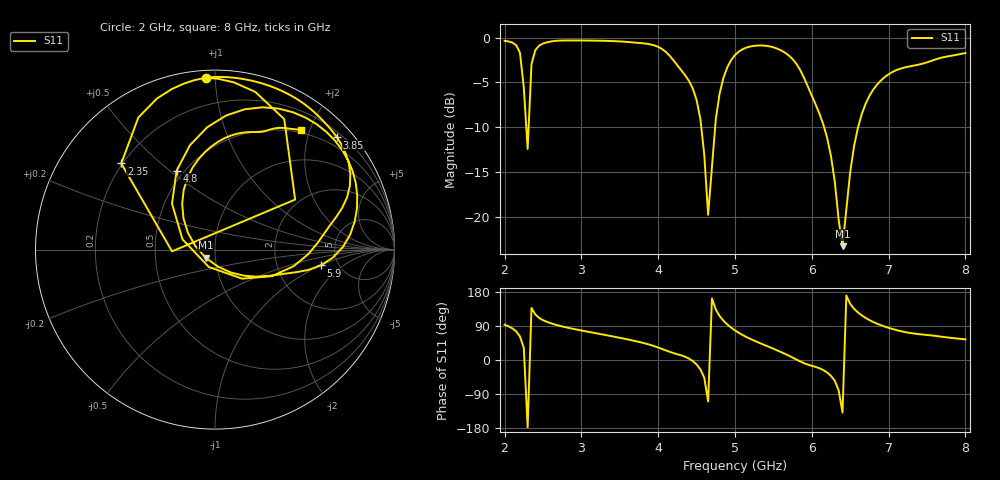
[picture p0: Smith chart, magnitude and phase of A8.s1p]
! Generated by Hertzon (EMerge FEM)
# HZ S RI R 50
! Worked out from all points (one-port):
!   121 points, 2 GHz to 8 GHz, reference 50 ohm
!   lowest |S11| = -23.2 dB at 6.4 GHz (marker M1), VSWR 1.15, Z = 44.9 - j4.1 ohm
!   |S11| at or under -10 dB: 2.282 GHz to 2.313 GHz (30.45 MHz wide, 1.33 % of centre); 4.561 GHz to 4.742 GHz (180.4 MHz wide, 3.88 % of centre); 6.161 GHz to 6.602 GHz (441.7 MHz wide, 6.92 % of centre)
!   S11 on the Smith chart (normalised r, x): 2 GHz: 0.04, +0.95; 2.35 GHz: 0.20, +0.38; 3.85 GHz: 0.30, +2.54; 4.8 GHz: 0.46, +0.53; 5.9 GHz: 3.65, -1.00; 8 GHz: 0.46, +1.86
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2e9  -0.0505 0.958
2.15e9  0.2242 0.8788
2.2e9  0.3857 0.7271
2.25e9  0.4465 0.2789
2.3e9  -0.2393 -0.00968
2.35e9  -0.5222 0.4801
2.45e9  -0.323 0.8422
2.75e9  0.024 0.9622
3.5e9  0.4965 0.8118
3.85e9  0.6801 0.6248
4.05e9  0.7539 0.4207
4.25e9  0.6755 0.1822
4.5e9  0.4392 -0.092
4.6e9  0.1515 -0.1619
4.65e9  -0.0342 -0.097
4.7e9  -0.1812 0.0572
4.8e9  -0.2139 0.4396
5e9  0.1654 0.7818
5.4e9  0.7077 0.5561
5.75e9  0.7538 0.085
5.9e9  0.5885 -0.0885
6.2e9  0.2313 -0.1506
6.4e9  -0.0517 -0.0454
6.5e9  -0.151 0.0938
6.6e9  -0.1829 0.2548
6.75e9  -0.1253 0.4561
7.25e9  0.2083 0.6551
8e9  0.4778 0.6659
